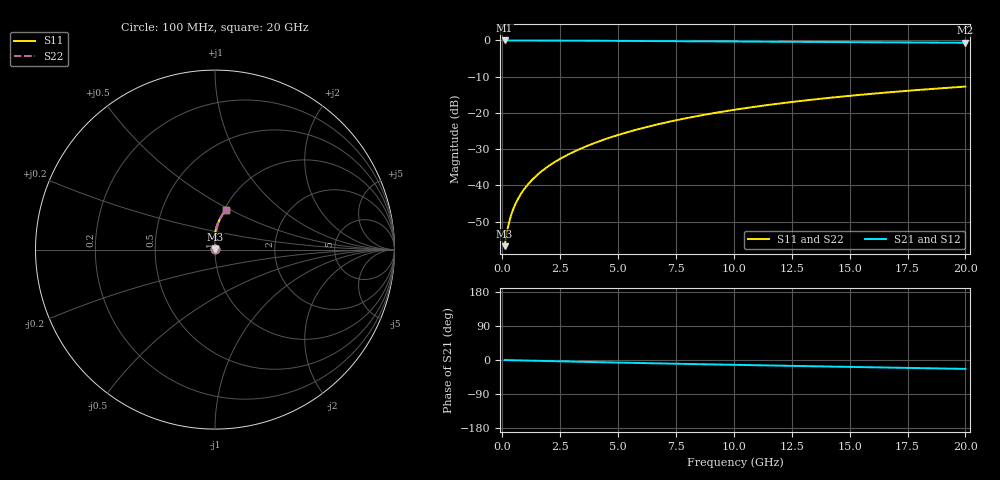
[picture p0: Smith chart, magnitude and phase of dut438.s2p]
! Touchstone file exported from HFSS 2024.1.0
!  File:  C:/UserFiles/LocalFiles/RDL_TSV_Batchsim/temp_RDL_top_438_1779676630.aedt
!  Generated:  10:39:16 AM May 25, 2026
!  Design:  RDL_top
!  Project:  temp_RDL_top_438_1779676630
!  Setup:  Setup1
!  Solution:  Sweep
! Variables:
!  dtsv = 10.80580581um
!  hbump = 3um
!  htsv = 79.67um
!  ldown = 100um
!  lrdl = 306.55um
!  p = 40
!  p1 = 59.08um
!  rhole = 1um
!  t = 450um
!  tdown = 3.915915916um
!  trdl = 4.6um
!  wdown = 15.38538539um
!  wrdl = 27.92um
# GHz S MA R 50.000000
! Terminal data exported
! Port[1] = Box2_T1
! Port[2] = Box2_T2
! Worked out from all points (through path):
!   200 points, 100 MHz to 20 GHz, reference 50 ohm
!   highest |S21| = -0.01 dB at 100 MHz (marker M1); lowest = -0.6 dB at 20 GHz (marker M2)
!   group delay of S21, straight-line fit = 3.21 ps
!   lowest |S11| = -56.8 dB at 100 MHz (marker M3), VSWR 1.00, Z = 50.1 + j0.101 ohm
!   |S11| at or under -10 dB: start of sweep to end of sweep
!   |S22| runs from -56.8 to -12.7 dB; largest |S21 - S12| = 2.4e-15
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0.1  0.001446 44.1  0.999 -0.1  0.999 -0.1  0.001446 44.1
! Gamma 0 0 0 0
! Port Impedance 50 0 50 0
0.2  0.002267 61.3  0.9989 -0.3  0.9989 -0.3  0.002267 61.3
0.3  0.003155 68.7  0.9988 -0.4  0.9988 -0.4  0.003155 68.7
0.4  0.004045 72.8  0.9987 -0.6  0.9987 -0.6  0.004045 72.8
0.5  0.004928 75.5  0.9986 -0.7  0.9986 -0.7  0.004927 75.5
0.7  0.006682 79.1  0.9984 -1.0  0.9984 -1.0  0.006681 79.1
1  0.009328 82.6  0.998 -1.4  0.998 -1.4  0.009327 82.6
1.4  0.01292 85.4  0.9974 -2.0  0.9974 -2.0  0.01292 85.4
1.7  0.01567 86.9  0.9968 -2.4  0.9968 -2.4  0.01567 86.9
2  0.01847 88.0  0.9962 -2.8  0.9962 -2.8  0.01847 88.0
2.7  0.02521 89.9  0.9943 -3.8  0.9943 -3.8  0.02521 89.9
3.5  0.03329 91.1  0.9917 -4.9  0.9917 -4.9  0.03329 91.1
4.2  0.0407 91.6  0.9892 -5.8  0.9892 -5.8  0.0407 91.6
5  0.04953 91.8  0.986 -6.8  0.986 -6.8  0.04953 91.8
5.9  0.05987 91.6  0.9824 -7.9  0.9824 -7.9  0.05987 91.6
6.8  0.07055 91.1  0.9787 -9.0  0.9787 -9.0  0.07054 91.1
8.4  0.09011 89.6  0.9722 -10.9  0.9722 -10.9  0.0901 89.6
10.1  0.1113 87.6  0.9655 -12.8  0.9655 -12.8  0.1113 87.6
11.7  0.1313 85.5  0.9594 -14.6  0.9594 -14.6  0.1313 85.5
13.4  0.1524 83.2  0.9531 -16.5  0.9531 -16.5  0.1524 83.2
16.7  0.1924 78.8  0.941 -20.0  0.941 -20.0  0.1924 78.8
20  0.2306 74.5  0.9288 -23.5  0.9288 -23.5  0.2306 74.5
